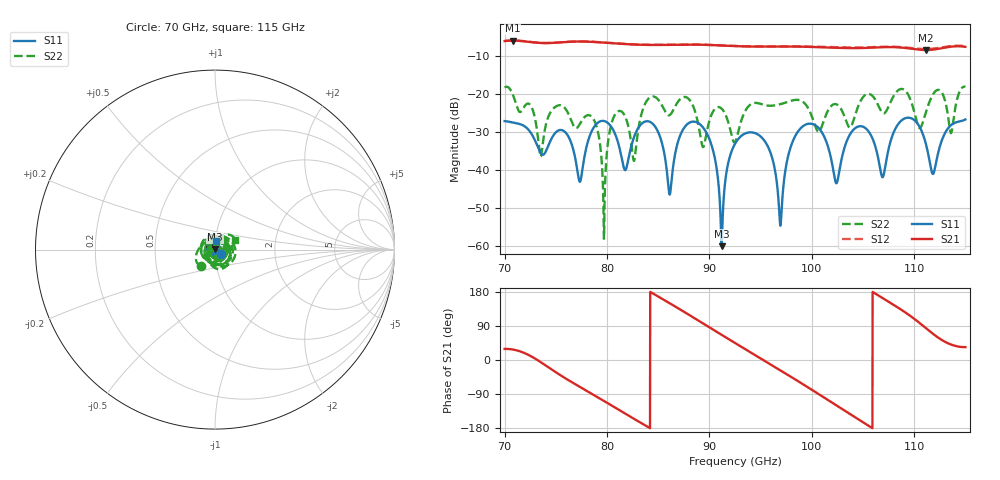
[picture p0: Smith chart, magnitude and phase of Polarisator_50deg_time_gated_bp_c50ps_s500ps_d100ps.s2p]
# Hz S RI R 1.000000
! Metas.Vna.Tools, 2.4.7898.19887
! Metas.Vna.Data, 2.4.7898.19873
! Created: UTC 2021.09.30 14:31:00
! FREQ  re:S1,1  im:S1,1  re:S2,1  im:S2,1  re:S1,2  im:S1,2  re:S2,2  im:S2,2
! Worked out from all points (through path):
!   2251 points, 70 GHz to 115 GHz, reference 1 ohm
!   highest |S21| = -5.92 dB at 70.8 GHz (marker M1); lowest = -8.4 dB at 111.2 GHz (marker M2)
!   lowest |S11| = -60.1 dB at 91.2 GHz (marker M3), VSWR 1.00, Z = 1 + j0.00194 ohm
!   |S11| at or under -10 dB: start of sweep to end of sweep
!   |S22| runs from -58.2 to -18.1 dB; largest |S21 - S12| = 0.076
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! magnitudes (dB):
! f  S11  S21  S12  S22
! 70 GHz  -27.1  -6.0  -6.0  -18.3
! 70.8 GHz  -27.5  -5.9  -5.9  -20.1
! 73.52 GHz  -35.5  -6.5  -6.5  -36.5
! 77.5 GHz  -41.7  -6.1  -6.1  -27.2
! 78.9 GHz  -28.1  -6.3  -6.3  -27.9
! 79.7 GHz  -27.1  -6.4  -6.4  -58.2
! 80.8 GHz  -30.6  -6.7  -6.6  -25.3
! 82.64 GHz  -31.3  -6.9  -6.9  -37.6
! 85 GHz  -30.1  -7.1  -7.0  -21.5
! 86.12 GHz  -46.5  -7.0  -7.0  -25.5
! 89.42 GHz  -29.0  -7.0  -7.0  -33.9
! 91.2 GHz  -60.1  -7.2  -7.2  -23.9
! 92.5 GHz  -33.1  -7.4  -7.3  -32.7
! 95.42 GHz  -32.5  -7.5  -7.4  -22.9
! 96.94 GHz  -54.7  -7.5  -7.4  -22.7
! 98.04 GHz  -33.2  -7.5  -7.4  -21.7
! 100 GHz  -27.9  -7.6  -7.5  -25.9
! 102.4 GHz  -43.5  -7.8  -7.7  -22.7
! 104.4 GHz  -28.8  -7.9  -7.7  -24.5
! 107.5 GHz  -34.5  -7.6  -7.5  -23.3
! 111.2 GHz  -33.3  -8.4  -8.1  -24.6
! 115 GHz  -26.7  -7.6  -7.4  -18.1
